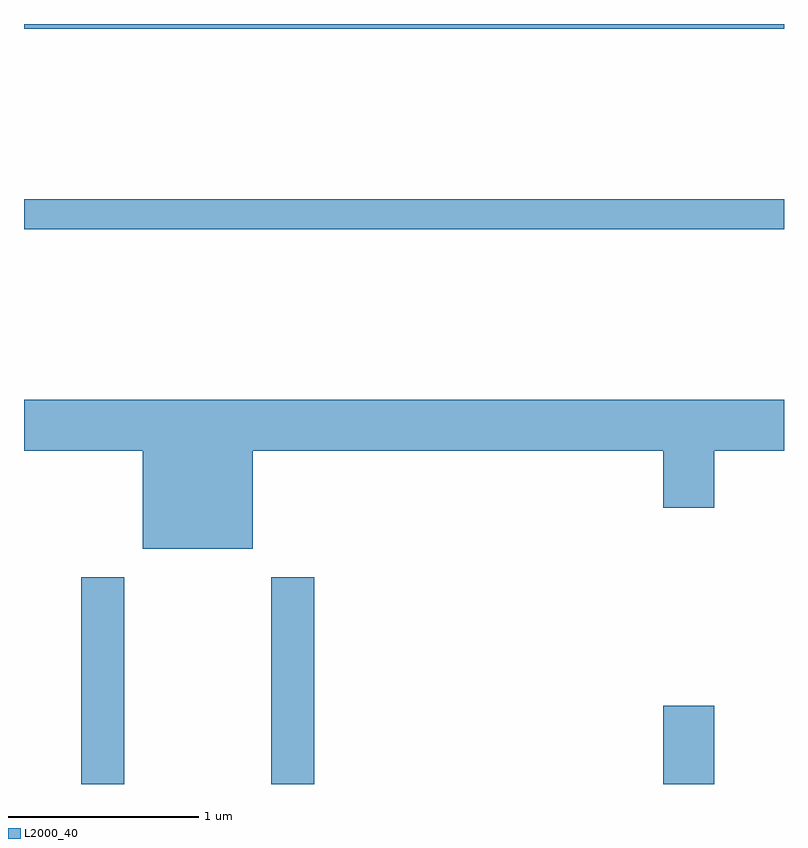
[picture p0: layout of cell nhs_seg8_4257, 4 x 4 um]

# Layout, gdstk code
import gdstk
lib = gdstk.Library(unit=1e-6, precision=1e-09)
def R(c, l, rs):  # rectangles x0, y0, x1, y1
    for r in rs: c.add(gdstk.rectangle(r[:2], r[2:], *l))
def P(c, l, *ps):  # polygons
    for p in ps: c.add(gdstk.Polygon(p, *l))
L2000_40 = (2000, 40)

nhs_seg8_4257 = lib.new_cell('nhs_seg8_4257')
R(nhs_seg8_4257, L2000_40, [(311.911,1932.342,312.139,1933.429), (312.911,1932.342,313.139,1933.429), (314.976,1932.342,315.244,1932.754), (311.611,1935.261,315.611,1935.419), (311.611,1936.316,315.611,1936.342)])
P(nhs_seg8_4257, L2000_40, [(312.814,1934.096),(314.976,1934.096),(314.976,1933.796),(315.244,1933.796),(315.244,1934.096),(315.611,1934.096),(315.611,1934.364),(311.611,1934.364),(311.611,1934.096),(312.236,1934.096),(312.236,1933.581),(312.814,1933.581)])

lib.write_gds('nhs_seg8_4257.gds')
